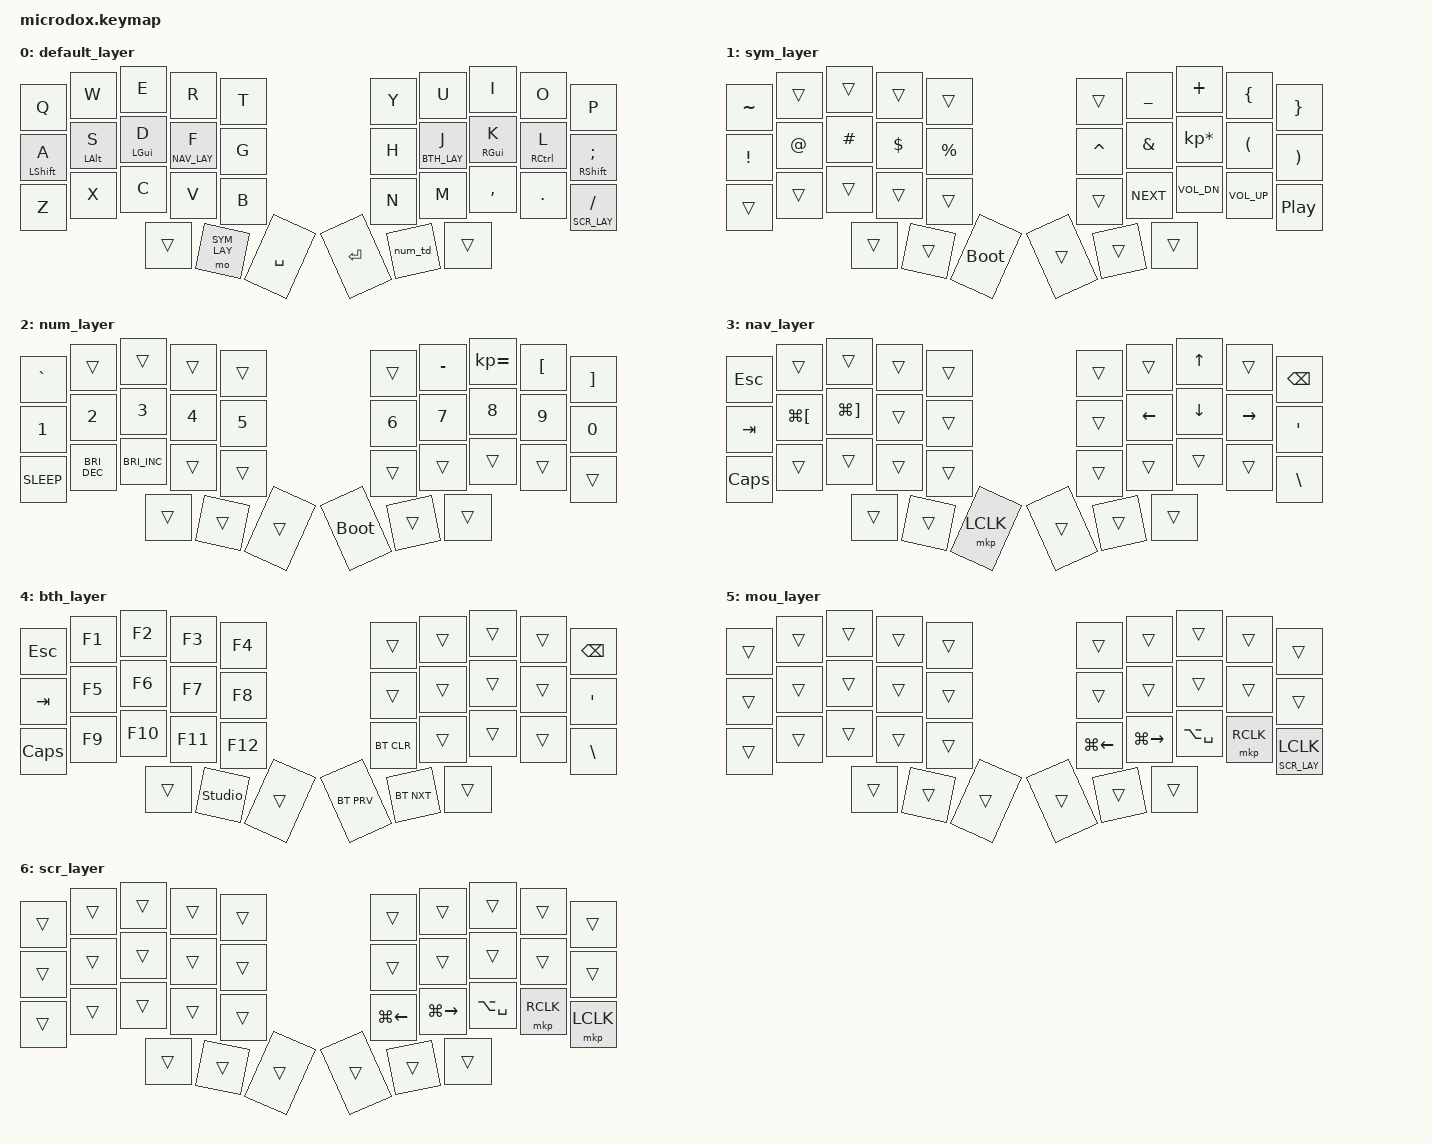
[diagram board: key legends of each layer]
/*
 * Copyright (c) 2020 The ZMK Contributors
 *
 * SPDX-License-Identifier: MIT
 */

#include <behaviors.dtsi>
#include <dt-bindings/zmk/keys.h>
#include <dt-bindings/zmk/bt.h>
#include <dt-bindings/zmk/mouse.h>

#define SYM_LAY 1
#define NUM_LAY 2
#define NAV_LAY 3
#define BTH_LAY 4
#define MOU_LAY 5
#define SCR_LAY 6

/ {
  combos {
    compatible = "zmk,combos";

    combo_undo {
      timeout-ms = <120>;
      slow-release;
      key-positions = <20 21>;
      bindings = <&kp LG(Z) >;
    };

    combo_copy {
      timeout-ms = <120>;
      slow-release;
      key-positions = <21 22>;
      bindings = <&kp LG(C) >;
    };

    combo_paste {
      timeout-ms = <120>;
      slow-release;
      key-positions = <22 23>;
      bindings = <&kp LG(V)>;
    };

    combo_terminal {
      timeout-ms = <120>;
      slow-release;
      key-positions = <23 24>;
      bindings = <&kp RC(GRAVE)>;
    };

    combo_screenshot {
      timeout-ms = <120>;
      slow-release;
      key-positions = <25 26>;
      bindings = <&kp LG(LS(N4))>;
    };

    combo_rightclick {
      timeout-ms = <120>;
      slow-release;
      key-positions = <28 29>;
      bindings = <&mkp RCLK>;
    };
  };
};

/ {
  behaviors {
    hm: homerow_mods {
      compatible = "zmk,behavior-hold-tap";
      label = "HOMEROW_MODS";
      #binding-cells = <2>;
      tapping-term-ms = <200>;
      quick_tap_ms = <0>;
      flavor = "balanced";
      bindings = <&kp>, <&kp>;
    };

    fm: finger_mods {
      compatible = "zmk,behavior-hold-tap";
      label = "FINGER_MODS";
      #binding-cells = <2>;
      tapping-term-ms = <200>;
      quick_tap_ms = <0>;
      flavor = "balanced";
      bindings = <&mo>, <&kp>;
    };

    mh: mouse_hold {
      compatible = "zmk,behavior-hold-tap";
      label = "MOUSE_HOLD";
      #binding-cells = <2>;
      tapping-term-ms = <200>;
      quick_tap_ms = <0>;
      flavor = "balanced";
      bindings = <&mo>, <&mkp>;
    };

    num_td: num_tap_dance {
      compatible = "zmk,behavior-tap-dance";
      #binding-cells = <0>;
      tapping-term-ms = <200>;
      bindings = <&mo NUM_LAY>, <&tog MOU_LAY>;
    };
  };

  keymap {
    compatible = "zmk,keymap";

    default_layer {
      //
      // ,-----------------------------.   ,-----------------------------.
      // |  Q  |  W  |  E  |  R  |  T  |   |  Y  |  U  |  I  |  O  |  P  |
      // |-----+-----+-----+-----+-----|   |-----+-----+-----+-----+-----|
      // |  A  |  S  |  D  |  F  |  G  |   |  H  |  J  |  K  |  L  |  ;  |
      // |-----+-----+-----+-----+-----|   |-----+-----+-----+-----+-----|
      // |  Z  |  X  |  C  |  V  |  B  |   |  N  |  M  |  ,  |  .  |  /  |
      // |-----+-----+-----+-----+-----|   |-----+-----+-----+-----+-----'
      //             |     | SYM | SPC |   | ENT | NUM |     |
      //             `-----------------'   `-----------------'
      //
      // holding options.
      // ,-----------------------------.   ,-----------------------------.
      // |     |     |     |     |     |   |     |     |     |     |     |
      // |-----+-----+-----+-----+-----|   |-----+-----+-----+-----+-----|
      // |SHIFT| ALT | GUI | NAV |     |   |     | BTH | GUI | CTRL|SHIFT|
      // |-----+-----+-----+-----+-----|   |-----+-----+-----+-----+-----|
      // |     |     |     |     |     |   |     |     |     |     | MOU |
      // |-----+-----+-----+-----+-----|   |-----+-----+-----+-----+-----'
      //             |     | SYM |     |   |     | NUM |     |
      //             `-----------------'   `-----------------'
      // combo options.
      // ,-----------------------------.   ,-----------------------------.
      // |    ESC    |     |     |     |   |     |     |     |    BCSP   |
      // |-----+-----+-----+-----+-----|   |-----+-----+-----+-----+-----|
      // |     |     |     |     |     |   |     |     |     |    DQT    |
      // |-----+-----+-----+-----+-----|   |-----+-----+-----+-----+-----|
      // |    UNDO COPY  PASTE TERM    |   | SCREENSHOT|     |    RCLK   |
      // |-----+-----+-----+-----+-----|   |-----+-----+-----+-----+-----'
      //             |     |   LCLK    |   |     |     |     |
      //             `-----------------'   `-----------------'
      bindings = <
        &kp Q        &kp W      &kp E      &kp R            &kp T                &kp Y     &kp U            &kp I         &kp O       &kp P
        &hm LSHIFT A &hm LALT S &hm LGUI D &fm NAV_LAY F    &kp G                &kp H     &fm BTH_LAY J    &hm RGUI K    &hm RCTRL L &hm RSHIFT SEMI
        &kp Z        &kp X      &kp C      &kp V            &kp B                &kp N     &kp M            &kp COMMA     &kp DOT     &fm SCR_LAY FSLH
                                &trans     &mo SYM_LAY      &kp SPACE            &kp ENTER &num_td         &trans
      >;
    };

    sym_layer {
      // left thumb holding.
      // ,-----------------------------.   ,-----------------------------.
      // |  ~  |     |     |     |     |   |     |  _  |  +  |  {  |  }  |
      // |-----+-----+-----+-----+-----|   |-----+-----+-----+-----+-----|
      // |  !  |  @  |  #  |  $  |  %  |   |  ^  |  &  |  *  |  (  |  )  |
      // |-----+-----+-----+-----+-----|   |-----+-----+-----+-----+-----|
      // |     |     |     |     |     |   |     | NEXT| VOL-| VOL+| PLAY|
      // |-----+-----+-----+-----+-----|   |-----+-----+-----+-----+-----'
      //             |     |     |BOOTL|   |     |     |     |
      //             `-----------------'   `-----------------'
      bindings = <
        &kp TILDE &trans &trans   &trans   &trans               &trans    &kp UNDER  &kp PLUS         &kp LBRC     &kp RBRC
        &kp EXCL  &kp AT &kp HASH &kp DLLR &kp PRCNT            &kp CARET &kp AMPS   &kp KP_MULTIPLY &kp LPAR     &kp RPAR
        &trans    &trans &trans   &trans   &trans               &trans    &kp C_NEXT &kp C_VOL_DN     &kp C_VOL_UP &kp C_PLAY_PAUSE
                         &trans   &trans   &bootloader          &trans    &trans     &trans
      >;
    };

    num_layer {
      // right thumb holding.
      // ,-----------------------------.   ,-----------------------------.
      // |  `  |     |     |     |     |   |     |  -  |  =  |  [  |  ]  |
      // |-----+-----+-----+-----+-----|   |-----+-----+-----+-----+-----|
      // |  1  |  2  |  3  |  4  |  5  |   |  6  |  7  |  8  |  9  |  0  |
      // |-----+-----+-----+-----+-----|   |-----+-----+-----+-----+-----|
      // |SLEEP|BRIG-|BRIG+|     |     |   |     |     |     |     |     |
      // |-----+-----+-----+-----+-----|   |-----+-----+-----+-----+-----'
      //             |     |     |     |   |BOOTL|     |     |
      //             `-----------------'   `-----------------'
      bindings = <
        &kp GRAVE   &trans        &trans        &trans       &trans            &trans      &kp MINUS    &kp KP_EQUAL  &kp LBKT      &kp RBKT
        &kp N1      &kp N2        &kp N3        &kp N4       &kp N5            &kp N6      &kp N7       &kp N8        &kp N9        &kp N0
        &kp C_SLEEP &kp C_BRI_DEC &kp C_BRI_INC &trans       &trans            &trans      &trans       &trans        &trans        &trans
                                  &trans        &trans       &trans            &bootloader &trans       &trans
      >;
    };

    nav_layer {
      // left index holding.
      // ,-----------------------------.   ,-----------------------------.
      // | ESC |     |     |     |     |   |     |     |  UP |     | BSPC|
      // |-----+-----+-----+-----+-----|   |-----+-----+-----+-----+-----|
      // | TAB |BACK |FWRD |     |     |   |     | LEFT| DOWN|RIGHT|  '  |
      // |-----+-----+-----+-----+-----|   |-----+-----+-----+-----+-----|
      // | CAPS|     |     |     |     |   |     |     |     |     |  \  |
      // |-----+-----+-----+-----+-----|   |-----+-----+-----+-----+-----'
      //             |     |     |     |   |     |     |     |
      //             `-----------------'   `-----------------'
      bindings = <
        &kp ESC  &trans       &trans        &trans &trans         &trans &trans   &kp UP   &trans    &kp BSPC
        &kp TAB  &kp LG(LBKT) &kp LG(RBKT)  &trans &trans         &trans &kp LEFT &kp DOWN &kp RIGHT &kp APOS
        &kp CAPS &trans       &trans        &trans &trans         &trans &trans   &trans   &trans    &kp BSLH
                              &trans        &trans &mkp LCLK      &trans &trans   &trans
      >;
    };

    bth_layer {
      // right index holding.
      // ,-----------------------------.   ,-----------------------------.
      // | ESC | F1  | F2  | F3  | F4  |   |     |     |     |     | BSPC|
      // |-----+-----+-----+-----+-----|   |-----+-----+-----+-----+-----|
      // | TAB | F5  | F6  | F7  | F8  |   |     |     |     |     |  '  |
      // |-----+-----+-----+-----+-----|   |-----+-----+-----+-----+-----|
      // | CAPS| F9  | F10 | F11 | F12 |   |BTCLR|     |     |     |  \  |
      // |-----+-----+-----+-----+-----|   |-----+-----+-----+-----+-----'
      //             |     |STUDU|     |   |BTPRE|BTNEX|     |
      //             `-----------------'   `-----------------'
      bindings = <
        &kp ESC  &kp F1 &kp F2      &kp F3         &kp F4    &trans       &trans       &trans     &trans &kp BSPC
        &kp TAB  &kp F5 &kp F6      &kp F7         &kp F8    &trans       &trans       &trans     &trans &kp APOS
        &kp CAPS &kp F9 &kp F10     &kp F11        &kp F12   &bt BT_CLR   &trans       &trans     &trans &kp BSLH
                        &trans      &studio_unlock &trans    &bt BT_PRV  &bt BT_NXT    &trans
      >;
    };

    mou_layer {
      // right thumb toggle.
      // ,-----------------------------.   ,-----------------------------.
      // |     |     |     |     |     |   |     |     |     |     |     |
      // |-----+-----+-----+-----+-----|   |-----+-----+-----+-----+-----|
      // |     |     |     |     |     |   |     |     |     |     |     |
      // |-----+-----+-----+-----+-----|   |-----+-----+-----+-----+-----|
      // |     |     |     |     |     |   |CMDL |CMDR |OPT+SP|RCLIC|LCLIC|
      // |-----+-----+-----+-----+-----|   |-----+-----+-----+-----+-----'
      //             |     |     |     |   |     |     |     |
      //             `-----------------'   `-----------------'
      bindings = <
        &trans &trans &trans &trans &trans    &trans &trans &trans &trans &trans
        &trans &trans &trans &trans &trans    &trans &trans &trans &trans &trans
        &trans &trans &trans &trans &trans    &kp LG(LEFT) &kp LG(RIGHT) &kp LA(SPACE) &mkp RCLK &mh SCR_LAY LCLK
                      &trans &trans &trans    &trans &trans &trans
      >;
    };

    scr_layer {
      // scroll layer (trackpad movement -> scroll).
      // ,-----------------------------.   ,-----------------------------.
      // |     |     |     |     |     |   |     |     |     |     |     |
      // |-----+-----+-----+-----+-----|   |-----+-----+-----+-----+-----|
      // |     |     |     |     |     |   |     |     |     |     |     |
      // |-----+-----+-----+-----+-----|   |-----+-----+-----+-----+-----|
      // |     |     |     |     |     |   |CMDL |CMDR |OPT+SP|RCLIC|LCLIC|
      // |-----+-----+-----+-----+-----|   |-----+-----+-----+-----+-----'
      //             |     |     |     |   |     |     |     |
      //             `-----------------'   `-----------------'
      bindings = <
        &trans &trans &trans &trans &trans    &trans &trans &trans &trans &trans
        &trans &trans &trans &trans &trans    &trans &trans &trans &trans &trans
        &trans &trans &trans &trans &trans    &kp LG(LEFT) &kp LG(RIGHT) &kp LA(SPACE) &mkp RCLK &mkp LCLK
                      &trans &trans &trans    &trans &trans &trans
      >;
    };

    extra1 {
      status = "reserved";
    };

    extra2 {
      status = "reserved";
    };
  };
};
